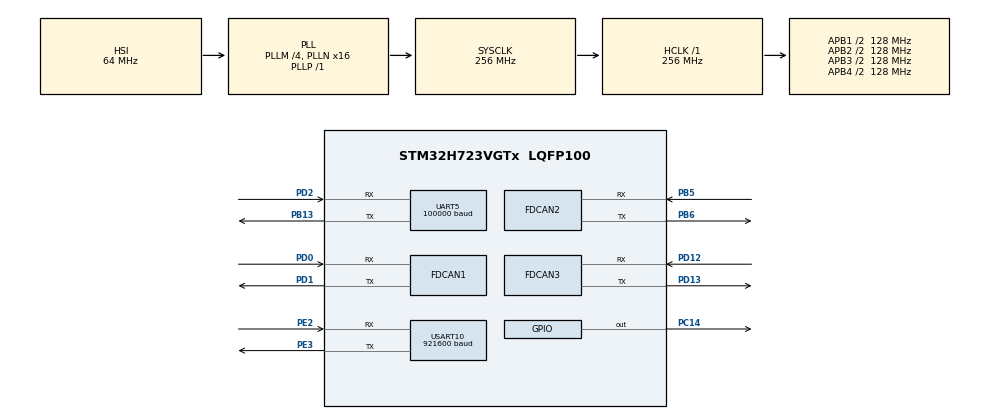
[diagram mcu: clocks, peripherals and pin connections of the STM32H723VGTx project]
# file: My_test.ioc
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CORTEX_M7.default_mode_Activation=1
Dma.Request0=UART5_RX
Dma.UART5_RX.0.Direction=DMA_PERIPH_TO_MEMORY
Dma.UART5_RX.0.EventEnable=DISABLE
Dma.UART5_RX.0.FIFOMode=DMA_FIFOMODE_DISABLE
Dma.UART5_RX.0.Instance=DMA1_Stream0
Dma.UART5_RX.0.MemDataAlignment=DMA_MDATAALIGN_BYTE
Dma.UART5_RX.0.MemInc=DMA_MINC_ENABLE
Dma.UART5_RX.0.Mode=DMA_NORMAL
Dma.UART5_RX.0.PeriphDataAlignment=DMA_PDATAALIGN_BYTE
Dma.UART5_RX.0.PeriphInc=DMA_PINC_DISABLE
Dma.UART5_RX.0.Polarity=HAL_DMAMUX_REQ_GEN_RISING
Dma.UART5_RX.0.Priority=DMA_PRIORITY_VERY_HIGH
Dma.UART5_RX.0.RequestNumber=1
Dma.UART5_RX.0.SignalID=NONE
Dma.UART5_RX.0.SyncEnable=DISABLE
Dma.UART5_RX.0.SyncPolarity=HAL_DMAMUX_SYNC_NO_EVENT
Dma.UART5_RX.0.SyncRequestNumber=1
Dma.UART5_RX.0.SyncSignalID=NONE
FDCAN1.CalculateBaudRateNominal=3200000
FDCAN1.CalculateTimeBitNominal=312
FDCAN1.CalculateTimeQuantumNominal=15.625
FDCAN1.DataPrescaler=2
FDCAN1.DataSyncJumpWidth=4
FDCAN1.DataTimeSeg1=14
FDCAN1.DataTimeSeg2=5
FDCAN1.FrameFormat=FDCAN_FRAME_FD_NO_BRS
FDCAN1.NominalPrescaler=2
FDCAN1.NominalSyncJumpWidth=4
FDCAN1.NominalTimeSeg1=14
FDCAN1.NominalTimeSeg2=5
FDCAN1.RxFifo0ElmtSize=FDCAN_DATA_BYTES_16
FDCAN1.RxFifo0ElmtsNbr=10
FDCAN1.StdFiltersNbr=1
FDCAN1.TxBuffersNbr=1
FDCAN1.TxElmtSize=FDCAN_DATA_BYTES_16
FDCAN1.TxFifoQueueElmtsNbr=10
FDCAN2.CalculateBaudRateNominal=3200000
FDCAN2.CalculateTimeBitNominal=312
FDCAN2.CalculateTimeQuantumNominal=15.625
FDCAN2.DataPrescaler=2
FDCAN2.DataSyncJumpWidth=4
FDCAN2.DataTimeSeg1=14
FDCAN2.DataTimeSeg2=5
FDCAN2.FrameFormat=FDCAN_FRAME_FD_NO_BRS
FDCAN2.MessageRAMOffset=853
FDCAN2.NominalPrescaler=2
FDCAN2.NominalSyncJumpWidth=4
FDCAN2.NominalTimeSeg1=14
FDCAN2.NominalTimeSeg2=5
FDCAN2.RxFifo0ElmtSize=FDCAN_DATA_BYTES_20
FDCAN2.RxFifo0ElmtsNbr=10
FDCAN2.RxFifo1ElmtSize=FDCAN_DATA_BYTES_20
FDCAN2.StdFiltersNbr=3
FDCAN2.TxFifoQueueElmtsNbr=5
FDCAN3.CalculateBaudRateNominal=1000000
FDCAN3.CalculateTimeBitNominal=1000
FDCAN3.CalculateTimeQuantumNominal=62.5
FDCAN3.DataPrescaler=8
FDCAN3.DataSyncJumpWidth=3
FDCAN3.DataTimeSeg1=11
FDCAN3.DataTimeSeg2=4
FDCAN3.MessageRAMOffset=1706
FDCAN3.NominalPrescaler=8
FDCAN3.NominalSyncJumpWidth=3
FDCAN3.NominalTimeSeg1=11
FDCAN3.NominalTimeSeg2=4
FDCAN3.RxFifo0ElmtsNbr=10
FDCAN3.StdFiltersNbr=1
FDCAN3.TxFifoQueueElmtsNbr=5
Mcu.Family=STM32H7
Mcu.Name=STM32H723VGTx
Mcu.Package=LQFP100
NVIC.DMA1_Stream0_IRQn=true\:0\:0\:false\:false\:true\:false\:true\:true
NVIC.FDCAN1_IT0_IRQn=true\:0\:0\:false\:false\:true\:true\:true\:true
NVIC.FDCAN1_IT1_IRQn=true\:0\:0\:false\:false\:true\:true\:true\:true
NVIC.FDCAN2_IT0_IRQn=true\:0\:0\:false\:false\:true\:true\:true\:true
NVIC.FDCAN2_IT1_IRQn=true\:0\:0\:false\:false\:true\:true\:true\:true
NVIC.FDCAN3_IT0_IRQn=true\:0\:0\:false\:false\:true\:true\:true\:true
NVIC.FDCAN3_IT1_IRQn=true\:0\:0\:false\:false\:true\:true\:true\:true
NVIC.PriorityGroup=NVIC_PRIORITYGROUP_4
NVIC.TIM6_DAC_IRQn=true\:0\:0\:false\:false\:true\:true\:true\:true
NVIC.TIM7_IRQn=true\:15\:0\:false\:false\:true\:false\:true\:true
NVIC.TimeBase=TIM7_IRQn
NVIC.TimeBaseIP=TIM7
NVIC.UART5_IRQn=true\:0\:0\:false\:false\:true\:true\:true\:true
NVIC.USART10_IRQn=true\:0\:0\:false\:false\:true\:true\:true\:true
PB13.Mode=Asynchronous
PB13.Signal=UART5_TX
PB5.GPIO_Speed=GPIO_SPEED_FREQ_VERY_HIGH
PB5.Mode=FDCAN_Activate
PB5.Signal=FDCAN2_RX
PB6.GPIO_FM6=__NULL
PB6.GPIO_Speed=GPIO_SPEED_FREQ_VERY_HIGH
PB6.Mode=FDCAN_Activate
PB6.Signal=FDCAN2_TX
PC14-OSC32_IN.PinState=GPIO_PIN_SET
PC14-OSC32_IN.Signal=GPIO_Output
PD0.GPIO_Speed=GPIO_SPEED_FREQ_VERY_HIGH
PD0.Mode=FDCAN_Activate
PD0.Signal=FDCAN1_RX
PD1.GPIO_Speed=GPIO_SPEED_FREQ_VERY_HIGH
PD1.Mode=FDCAN_Activate
PD1.Signal=FDCAN1_TX
PD12.GPIO_Speed=GPIO_SPEED_FREQ_HIGH
PD12.Mode=FDCAN_Activate
PD12.Signal=FDCAN3_RX
PD13.GPIO_Speed=GPIO_SPEED_FREQ_HIGH
PD13.Mode=FDCAN_Activate
PD13.Signal=FDCAN3_TX
PD2.GPIO_Speed=GPIO_SPEED_FREQ_MEDIUM
PD2.Mode=Asynchronous
PD2.Signal=UART5_RX
PE2.GPIO_Speed=GPIO_SPEED_FREQ_HIGH
PE2.Mode=Asynchronous
PE2.Signal=USART10_RX
PE3.GPIO_Speed=GPIO_SPEED_FREQ_HIGH
PE3.Mode=Asynchronous
PE3.Signal=USART10_TX
PH0-OSC_IN.Mode=HSE-External-Oscillator
PH0-OSC_IN.Signal=RCC_OSC_IN
PH1-OSC_OUT.Mode=HSE-External-Oscillator
PH1-OSC_OUT.Signal=RCC_OSC_OUT
ProjectManager.HeapSize=0x200
ProjectManager.StackSize=0x400
ProjectManager.TargetToolchain=MDK-ARM V5.32
RCC.ADCFreq_Value=129000000
RCC.APB1Freq_Value=128000000
RCC.APB2Freq_Value=128000000
RCC.APB3Freq_Value=128000000
RCC.APB4Freq_Value=128000000
RCC.CortexFreq_Value=256000000
RCC.D1PPRE=RCC_APB3_DIV2
RCC.D2PPRE1=RCC_APB1_DIV2
RCC.D2PPRE2=RCC_APB2_DIV2
RCC.D3PPRE=RCC_APB4_DIV2
RCC.DIVM1=4
RCC.DIVN1=16
RCC.DIVP1=1
RCC.HCLKFreq_Value=256000000
RCC.HSE_VALUE=24000000
RCC.PLL2FRACN=0
RCC.PLL3FRACN=0
RCC.PLLFRACN=0
RCC.SYSCLKFreq_VALUE=256000000
RCC.SYSCLKSource=RCC_SYSCLKSOURCE_PLLCLK
RCC.USBFreq_Value=128000000
TIM6.AutoReloadPreload=TIM_AUTORELOAD_PRELOAD_ENABLE
TIM6.Period=100-1
TIM6.Prescaler=2560-1
UART5.BaudRate=100000
UART5.Mode=MODE_RX
UART5.Parity=PARITY_EVEN
UART5.WordLength=WORDLENGTH_9B
USART10.BaudRate=921600
USART10.VirtualMode=VM_ASYNC
VP_MEMORYMAP_VS_MEMORYMAP.Mode=CurAppReg
VP_SYS_VS_tim7.Mode=TIM7
VP_TIM6_VS_ClockSourceINT.Mode=Enable_Timer
board=custom

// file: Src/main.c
/* USER CODE BEGIN Header */
/**
  ******************************************************************************
  * @file           : main.c
  * @brief          : Main program body
  ******************************************************************************
  * @attention
  *
  * Copyright (c) 2026 STMicroelectronics.
  * All rights reserved.
  *
  * This software is licensed under terms that can be found in the LICENSE file
  * in the root directory of this software component.
  * If no LICENSE file comes with this software, it is provided AS-IS.
  *
  ******************************************************************************
  */
/* USER CODE END Header */
#include "main.h"
#include "dma.h"
#include "fdcan.h"
#include "tim.h"
#include "usart.h"
#include "gpio.h"

/* USER CODE BEGIN Includes */
#include "Remote.h"
#include "FDCANHandler.h"
#include "FDCANFilter.h"
#include "BspM3508.h"
#include "PID.h"
#include "Chassis.h"
/* USER CODE END Includes */

void SystemClock_Config(void);
static void MPU_Config(void);

int main(void)
{

  /* MPU Configuration--------------------------------------------------------*/
  MPU_Config();

  /* MCU Configuration--------------------------------------------------------*/

  /* Reset of all peripherals, Initializes the Flash interface and the Systick. */
  HAL_Init();

  /* Configure the system clock */
  SystemClock_Config();

  /* Initialize all configured peripherals */
  MX_GPIO_Init();
  MX_DMA_Init();
  MX_FDCAN1_Init();
  MX_FDCAN2_Init();
  MX_FDCAN3_Init();
  MX_TIM6_Init();
  MX_USART10_UART_Init();
  MX_UART5_Init();
  /* USER CODE BEGIN 2 */
Remote_Init(&RC);//DR16���ݽ���
FDCAN_Init();//׼��0x6FF���;�����жϴ�
Chassis_Init();//��ʼ�����֣��ϵ�ȫ������
HAL_TIM_Base_Start_IT(&htim6);
UART_Start();
  /* USER CODE END 2 */

  /* Infinite loop */
  /* USER CODE BEGIN WHILE */
  while (1)
  {
		Remote_Is_Online();
		debug();
    /* USER CODE END WHILE */

  }
}

void SystemClock_Config(void)
{
  RCC_OscInitTypeDef RCC_OscInitStruct = {0};
  RCC_ClkInitTypeDef RCC_ClkInitStruct = {0};

  /** Supply configuration update enable
  */
  HAL_PWREx_ConfigSupply(PWR_LDO_SUPPLY);

  /** Configure the main internal regulator output voltage
  */
  __HAL_PWR_VOLTAGESCALING_CONFIG(PWR_REGULATOR_VOLTAGE_SCALE0);

  while(!__HAL_PWR_GET_FLAG(PWR_FLAG_VOSRDY)) {}

  /** Initializes the RCC Oscillators according to the specified parameters
  * in the RCC_OscInitTypeDef structure.
  */
  RCC_OscInitStruct.OscillatorType = RCC_OSCILLATORTYPE_HSI;
  RCC_OscInitStruct.HSIState = RCC_HSI_DIV1;
  RCC_OscInitStruct.HSICalibrationValue = 64;
  RCC_OscInitStruct.PLL.PLLState = RCC_PLL_ON;
  RCC_OscInitStruct.PLL.PLLSource = RCC_PLLSOURCE_HSI;
  RCC_OscInitStruct.PLL.PLLM = 4;
  RCC_OscInitStruct.PLL.PLLN = 16;
  RCC_OscInitStruct.PLL.PLLP = 1;
  RCC_OscInitStruct.PLL.PLLQ = 2;
  RCC_OscInitStruct.PLL.PLLR = 2;
  RCC_OscInitStruct.PLL.PLLRGE = RCC_PLL1VCIRANGE_3;
  RCC_OscInitStruct.PLL.PLLVCOSEL = RCC_PLL1VCOWIDE;
  RCC_OscInitStruct.PLL.PLLFRACN = 0;
  if (HAL_RCC_OscConfig(&RCC_OscInitStruct) != HAL_OK)
  {
    Error_Handler();
  }

  /** Initializes the CPU, AHB and APB buses clocks
  */
  RCC_ClkInitStruct.ClockType = RCC_CLOCKTYPE_HCLK|RCC_CLOCKTYPE_SYSCLK
                              |RCC_CLOCKTYPE_PCLK1|RCC_CLOCKTYPE_PCLK2
                              |RCC_CLOCKTYPE_D3PCLK1|RCC_CLOCKTYPE_D1PCLK1;
  RCC_ClkInitStruct.SYSCLKSource = RCC_SYSCLKSOURCE_PLLCLK;
  RCC_ClkInitStruct.SYSCLKDivider = RCC_SYSCLK_DIV1;
  RCC_ClkInitStruct.AHBCLKDivider = RCC_HCLK_DIV1;
  RCC_ClkInitStruct.APB3CLKDivider = RCC_APB3_DIV2;
  RCC_ClkInitStruct.APB1CLKDivider = RCC_APB1_DIV2;
  RCC_ClkInitStruct.APB2CLKDivider = RCC_APB2_DIV2;
  RCC_ClkInitStruct.APB4CLKDivider = RCC_APB4_DIV2;

  if (HAL_RCC_ClockConfig(&RCC_ClkInitStruct, FLASH_LATENCY_3) != HAL_OK)
  {
    Error_Handler();
  }
}

/* USER CODE BEGIN 4 */
void HAL_UARTEx_RxEventCallback(UART_HandleTypeDef *huart, uint16_t Size)
{
    Remote_RxCallback(huart, Size);
}
/* USER CODE END 4 */

 /* MPU Configuration */

void MPU_Config(void)
{
  MPU_Region_InitTypeDef MPU_InitStruct = {0};

  /* Disables the MPU */
  HAL_MPU_Disable();

  /** Initializes and configures the Region and the memory to be protected
  */
  MPU_InitStruct.Enable = MPU_REGION_ENABLE;
  MPU_InitStruct.Number = MPU_REGION_NUMBER0;
  MPU_InitStruct.BaseAddress = 0x0;
  MPU_InitStruct.Size = MPU_REGION_SIZE_4GB;
  MPU_InitStruct.SubRegionDisable = 0x87;
  MPU_InitStruct.TypeExtField = MPU_TEX_LEVEL0;
  MPU_InitStruct.AccessPermission = MPU_REGION_NO_ACCESS;
  MPU_InitStruct.DisableExec = MPU_INSTRUCTION_ACCESS_DISABLE;
  MPU_InitStruct.IsShareable = MPU_ACCESS_SHAREABLE;
  MPU_InitStruct.IsCacheable = MPU_ACCESS_NOT_CACHEABLE;
  MPU_InitStruct.IsBufferable = MPU_ACCESS_NOT_BUFFERABLE;

  HAL_MPU_ConfigRegion(&MPU_InitStruct);
  /* Enables the MPU */
  HAL_MPU_Enable(MPU_PRIVILEGED_DEFAULT);

}

void HAL_TIM_PeriodElapsedCallback(TIM_HandleTypeDef *htim)
{
  /* USER CODE BEGIN Callback 0 */
static uint8_t count = 0;
  /* USER CODE END Callback 0 */
  if (htim->Instance == TIM7)
  {
    HAL_IncTick();
  }
  /* USER CODE BEGIN Callback 1 */
if (htim->Instance == TIM6)
    {
        count++;

        if (count >= 2)
        {
            count = 0;
            Chassis_TestControlFromRemote();
        }
    }
  /* USER CODE END Callback 1 */
}

void Error_Handler(void)
{
  __disable_irq();
  while (1)
  {
  }
}
